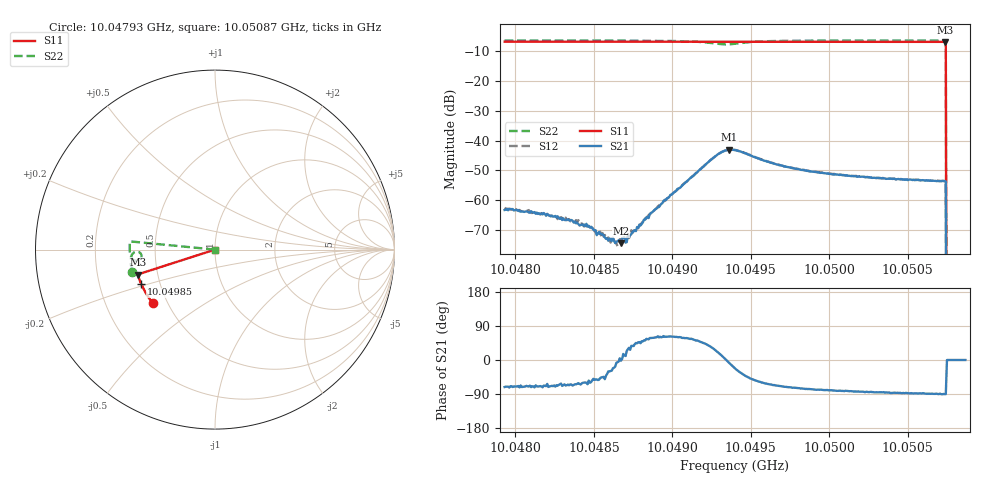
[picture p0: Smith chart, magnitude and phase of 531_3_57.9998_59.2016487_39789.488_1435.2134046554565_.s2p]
#  HZ  S  RI  R  50.00
! Rohde & Schwarz Vector Network Analyzer
! Rohde-Schwarz,ZNB20-2Port,1311601062101988,3.16
! Created: UTC 3/21/2024, 1:14:06 AM
! freq[Hz]  re:S11  im:S11  re:S21  im:S21  re:S12  im:S12  re:S22  im:S22
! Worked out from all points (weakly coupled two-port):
!   401 points, 10.04793 GHz to 10.05087 GHz, reference 50 ohm
!   highest |S21| = -43.06 dB at 10.04936 GHz (marker M1); lowest = -74.5 dB at 10.04867 GHz (marker M2)
!   lowest |S11| = -6.9 dB at 10.05074 GHz (marker M3), VSWR 2.65, Z = 19.3 - j6.72 ohm
!   |S11| at or under -10 dB: 10.05074 GHz to end of sweep
!   |S22| runs from - to -6.4 dB; largest |S21 - S12| = 0.00047
!   S11 on the Smith chart (normalised r, x): 10.04793 GHz: 0.42, -0.32; 10.04985 GHz: 0.39, -0.19; 10.05087 GHz: 1.00, +0.00
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1.0047931e10  -0.3449 -0.3002  0.000219 -0.000649  0.000307 -0.000679  -0.4619 -0.1231
1.0048195e10  -0.3557 -0.2865  0.000198 -0.000512  0.000257 -0.000512  -0.4658 -0.1048
1.0048393e10  -0.3636 -0.276  0.00019 -0.000373  0.000208 -0.000376  -0.468 -0.0904
1.0048423e10  -0.3645 -0.2743  0.000186 -0.000346  0.000211 -0.000348  -0.4684 -0.0883
1.0048467e10  -0.3663 -0.2722  0.000218 -0.000303  0.000216 -0.000265  -0.4686 -0.085
1.0048584e10  -0.3707 -0.2657  0.000183 -0.000136  0.000184 -0.000126  -0.4696 -0.076
1.0048643e10  -0.3728 -0.2625  0.0002 -2.63e-05  0.000189 -1.4e-05  -0.4697 -0.0712
1.0048673e10  -0.3738 -0.2608  0.000189 -6.06e-06  0.00021 5e-05  -0.47 -0.0688
1.0048717e10  -0.3754 -0.2583  0.000221 0.00012  0.000202 0.000141  -0.4701 -0.065
1.0048915e10  -0.3823 -0.2472  0.000387 0.000661  0.000342 0.000743  -0.4689 -0.0467
1.004926e10  -0.3932 -0.2273  0.00439 0.00261  0.00425 0.00285  -0.4293 -0.0118
1.0049311e10  -0.3946 -0.2245  0.00619 0.00142  0.0061 0.00179  -0.4138 -0.022
1.0049363e10  -0.3962 -0.2217  0.00696 -0.00096  0.00701 -0.000513  -0.4099 -0.0429
1.00494e10  -0.3973 -0.2198  0.0064 -0.00263  0.00661 -0.00222  -0.4173 -0.0555
1.0049657e10  -0.4052 -0.2049  0.00158 -0.00372  0.00183 -0.00366  -0.466 -0.0431
1.0049855e10  -0.4108 -0.1931  0.000746 -0.00301  0.000952 -0.00302  -0.4729 -0.0223
1.0049892e10  -0.4116 -0.1909  0.000663 -0.00295  0.00086 -0.00295  -0.4736 -0.0189
1.0050384e10  -0.4234 -0.1608  0.000163 -0.0023  0.000295 -0.00227  -0.4754 0.0201
1.0050729e10  -0.4303 -0.1394  1.45e-05 -0.0021  0.000111 -0.0021  -0.4739 0.0447
1.0050736e10  -0.4305 -0.1388  -4.93e-06 -0.00209  0.000116 -0.00208  -0.4738 0.0453
1.0050765e10  0 0  0 0  0 0  0 0
1.0050868e10  0 0  0 0  0 0  0 0
